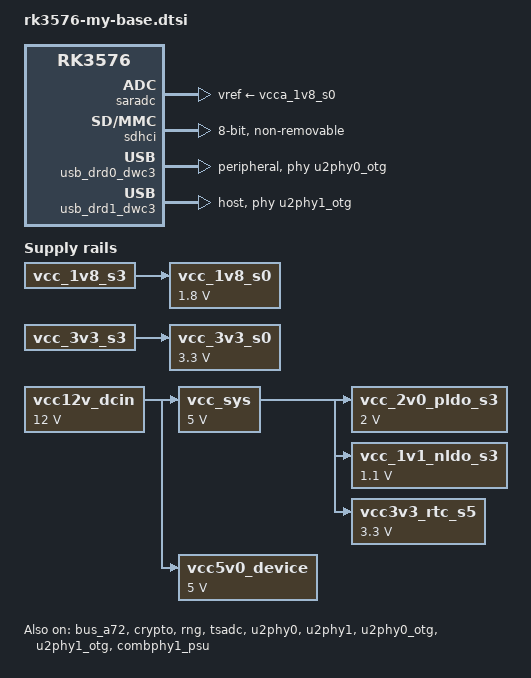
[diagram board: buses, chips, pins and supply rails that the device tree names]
// SPDX-License-Identifier: (GPL-2.0+ OR MIT)
/*
 * Copyright (c) 2024 Rockchip Electronics Co., Ltd.
 *
 */

#include <dt-bindings/gpio/gpio.h>
#include <dt-bindings/pwm/pwm.h>
#include <dt-bindings/pinctrl/rockchip.h>
#include <dt-bindings/input/rk-input.h>
#include <dt-bindings/display/drm_mipi_dsi.h>
#include <dt-bindings/display/rockchip_vop.h>
#include <dt-bindings/sensor-dev.h>
#include <dt-bindings/usb/pd.h>
#include "rk3576-rk806.dtsi"

/ {
	chosen: chosen {
		bootargs = "earlycon=uart8250,mmio32,0x2ad40000 console=ttyFIQ0 root=PARTUUID=614e0000-0000 rw rootwait rcupdate.rcu_expedited=1 rcu_nocbs=all";
	};

	test-power {
		status = "okay";
	};

	firmware {
		optee: optee {
			compatible = "linaro,optee-tz";
			method = "smc";
		};
	};

	reserved_memory: reserved-memory {
		#address-cells = <2>;
		#size-cells = <2>;
		ranges;

		drm_logo: drm-logo@0 {
			compatible = "rockchip,drm-logo";
			reg = <0x0 0x0 0x0 0x0>;
		};

		drm_cubic_lut: drm-cubic-lut@0 {
			compatible = "rockchip,drm-cubic-lut";
			reg = <0x0 0x0 0x0 0x0>;
		};

		ramoops: ramoops@40110000 {
			compatible = "ramoops";
			/* 0x40110000 to 0x401f0000 is for ramoops */
			reg = <0x0 0x40110000 0x0 0xe0000>;
			boot-log-size = <0x8000>;    /* do not change */
			boot-log-count = <0x1>;        /* do not change */
			console-size = <0x80000>;
			pmsg-size = <0x30000>;
			ftrace-size = <0x00000>;
			record-size = <0x14000>;
		};
	};

	vcc12v_dcin: vcc12v-dcin {
		compatible = "regulator-fixed";
		regulator-name = "vcc12v_dcin";
		regulator-always-on;
		regulator-boot-on;
		regulator-min-microvolt = <12000000>;
		regulator-max-microvolt = <12000000>;
	};

	vcc_sys: vcc5v0-sys {
		compatible = "regulator-fixed";
		regulator-name = "vcc_sys";
		regulator-always-on;
		regulator-boot-on;
		regulator-min-microvolt = <5000000>;
		regulator-max-microvolt = <5000000>;
		vin-supply = <&vcc12v_dcin>;
	};

	vcc5v0_device: vcc5v0-device {
		compatible = "regulator-fixed";
		regulator-name = "vcc5v0_device";
		regulator-always-on;
		regulator-boot-on;
		regulator-min-microvolt = <5000000>;
		regulator-max-microvolt = <5000000>;
		vin-supply = <&vcc12v_dcin>;
	};

	vcc_2v0_pldo_s3: vcc-2v0-pldo-s3 {
		compatible = "regulator-fixed";
		regulator-name = "vcc_2v0_pldo_s3";
		regulator-boot-on;
		regulator-always-on;
		regulator-min-microvolt = <2000000>;
		regulator-max-microvolt = <2000000>;
		vin-supply = <&vcc_sys>;
	};

	vcc_1v1_nldo_s3: vcc-1v1-nldo-s3 {
		compatible = "regulator-fixed";
		regulator-name = "vcc_1v1_nldo_s3";
		regulator-boot-on;
		regulator-always-on;
		regulator-min-microvolt = <1100000>;
		regulator-max-microvolt = <1100000>;
		vin-supply = <&vcc_sys>;
	};

	vcc3v3_rtc_s5: vcc3v3-rtc-s5 {
		compatible = "regulator-fixed";
		regulator-name = "vcc3v3_rtc_s5";
		regulator-boot-on;
		regulator-always-on;
		regulator-min-microvolt = <3300000>;
		regulator-max-microvolt = <3300000>;
		vin-supply = <&vcc_sys>;
	};

	vcc_1v8_s0: vcc-1v8-s0 {
		compatible = "regulator-fixed";
		regulator-name = "vcc_1v8_s0";
		regulator-boot-on;
		regulator-always-on;
		regulator-min-microvolt = <1800000>;
		regulator-max-microvolt = <1800000>;
		vin-supply = <&vcc_1v8_s3>;
	};

	vcc_3v3_s0: vcc-3v3-s0 {
		compatible = "regulator-fixed";
		regulator-name = "vcc_3v3_s0";
		regulator-boot-on;
		regulator-always-on;
		regulator-min-microvolt = <3300000>;
		regulator-max-microvolt = <3300000>;
		vin-supply = <&vcc_3v3_s3>;
	};

	fiq_debugger: fiq-debugger {
		compatible = "rockchip,fiq-debugger";
		rockchip,serial-id = <0>;
		rockchip,wake-irq = <0>;
		/* If enable uart uses irq instead of fiq */
		rockchip,irq-mode-enable = <1>;
		rockchip,baudrate = <115200>;  /* Only 115200 and 1500000 */
		interrupts = <GIC_SPI 389 IRQ_TYPE_LEVEL_LOW>;
		pinctrl-names = "default";
		pinctrl-0 = <&uart0m0_xfer>;
		status = "okay";
	};
};

&bus_a72 {
	bus-supply = <&vdd_logic_s0>;
	pvtm-supply = <&vdd_logic_s0>;
	status = "okay";
};

&cpu_l0 {
	cpu-supply = <&vdd_cpu_lit_s0>;
};

&cpu_b0 {
	cpu-supply = <&vdd_cpu_big_s0>;
};

&crypto {
	status = "okay";
};

&cluster0_opp_table {
	/* RK3576 A53 core limit at 1.4GHz */
	/delete-node/ opp-1608000000;
	/delete-node/ opp-1800000000;
	/delete-node/ opp-2016000000;

	/* RK3576J A53 core limit at 1.4GHz */
	/delete-node/ opp-j-m-1608000000;
	/delete-node/ opp-j-m-1800000000;
	/delete-node/ opp-j-m-1920000000;
};

&cluster1_opp_table {
	/* RK3576 A72 core limit at 1.6GHz */
	/delete-node/ opp-1800000000;
	/delete-node/ opp-2016000000;
	/delete-node/ opp-2208000000;

	/* RK3576J A72 core limit at 1.6GHz */
	/delete-node/ opp-j-m-1800000000;
	/delete-node/ opp-j-m-2016000000;
	/delete-node/ opp-j-m-2112000000;
};

&gpu_opp_table {
	/* RK3576 GPU limit at 700MHz */
	/delete-node/ opp-s-800000000;
	/delete-node/ opp-800000000;
	/delete-node/ opp-900000000;

	/* RK3576J GPU limit at 700MHz */
	/delete-node/ opp-j-m-800000000;
};

&npu_opp_table {
	/* RK3576 NPU limit at 700MHz */
	/delete-node/ opp-800000000;
	/delete-node/ opp-900000000;
	/delete-node/ opp-950000000;

	/* RK3576J NPU limit at 700MHz */
	/delete-node/ opp-j-m-800000000;
	/delete-node/ opp-j-m-850000000;
};

&gpu {
	mali-supply = <&vdd_gpu_s0>;
	status = "disabled";
};

&pwm1_6ch_1 {
	status = "disabled";
	pinctrl-0 = <&pwm1m0_ch1>;
};

&rng {
	status = "okay";
};

&rockchip_suspend {
	status = "okay";
	rockchip,sleep-debug-en = <1>;

	rockchip,sleep-io-ret-config = <(0 | RKPM_VCCIO3_RET_EN)>;

	rockchip,regulator-on-before-mem = <&vdd_npu_s0>;
};

&saradc {
	status = "okay";
	vref-supply = <&vcca_1v8_s0>;
};

&sdhci {
	bus-width = <8>;
	no-sdio;
	no-sd;
	non-removable;
	max-frequency = <200000000>;
	mmc-hs400-1_8v;
	mmc-hs400-enhanced-strobe;
	full-pwr-cycle-in-suspend;
	status = "okay";
};

&sdio {
	supports-SDIO;
	status = "disabled";
};

&sdmmc {
	max-frequency = <200000000>;
	no-sdio;
	no-mmc;
	bus-width = <4>;
	cap-mmc-highspeed;
	cap-sd-highspeed;
	disable-wp;
	sd-uhs-sdr104;
	vqmmc-supply = <&vccio_sd_s0>;
	status = "disabled";
};

&tsadc {
	status = "okay";
};

&u2phy0 {
	status = "okay";
};

&u2phy1 {
	status = "okay";
};

&u2phy0_otg {
	rockchip,typec-vbus-det;
	rockchip,sel-pipe-phystatus;
	rockchip,dis-u2-susphy;
	status = "okay";
};

&u2phy1_otg {
	rockchip,sel-pipe-phystatus;
	rockchip,dis-u2-susphy;
	status = "okay";
};

&usb_drd0_dwc3 {
	dr_mode = "peripheral";
	phys = <&u2phy0_otg>;
	phy-names = "usb2-phy";
	maximum-speed = "high-speed";
	snps,dis_u2_susphy_quirk;
	status = "okay";
};

&combphy1_psu {
	rockchip,dis-u3otg1-port;
	status = "okay";
};

&usb_drd1_dwc3 {
	dr_mode = "host";
	phys = <&u2phy1_otg>, <&combphy1_psu PHY_TYPE_USB3>;
	phy-names = "usb2-phy", "usb3-phy";
	maximum-speed = "high-speed";
	snps,dis_u2_susphy_quirk;
	snps,usb2-lpm-disable;
	status = "okay";
};
